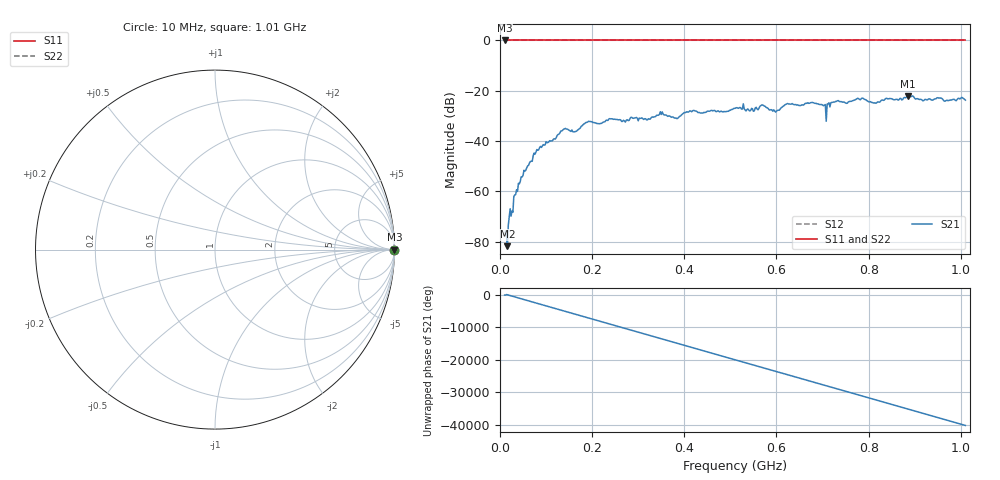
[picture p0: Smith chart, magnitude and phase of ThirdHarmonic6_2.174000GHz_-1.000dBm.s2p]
! 8/17/2025 1:56:22 AM
! C:\ANRITSUVNA\TEMP\TEMP.S2P
! CHANNEL.1
! TR.MEASUREMENT
! RAW.DATA
! RF.CORRECTION.OFF
! AVERAGING.OFF
! IF.BANDWIDTH: 5KHZ
! SWEEPTYPE:  FREQ.SWEEP(Linear)
! Reference Plane Port Info
! PORT:  PORT1  PORT2
! DISTANCE:  0  m  0  m
! TIME:  0  s  0  s
! PHASE.OFFSET:  0  deg.  0  deg.
! LOSS:  0  dB  0  dB
! REF.LOSS:  0  dB  0  dB
! REF.FREQ:  0  Hz  0  Hz
! Power Info
! POWER:  -20  dBm  -20  dBm
! EFF.POWER:  -20  dBm  -20  dBm
! SOURCE.ATTEN:  0  dB  0  dB
! TEST.ATTEN:  0  dB  0  dB
# GHZ S RI R 50.0
! FREQ.GHZ  S11RE  S11IM  S21RE  S21IM  S12RE  S12IM  S22RE  S22IM
!; PortSelection: Port_12
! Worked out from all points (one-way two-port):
!   501 points, 10 MHz to 1.01 GHz, reference 50 ohm
!   highest |S21| = -22.03 dB at 886 MHz (marker M1); lowest = -81.8 dB at 16 MHz (marker M2)
!   lowest |S11| = 0.0 dB at 10 MHz (marker M3)
!   |S11| at or under -10 dB: nowhere
!   |S22| runs from 0.0 to 0.0 dB; largest |S21 - S12| = 1.1
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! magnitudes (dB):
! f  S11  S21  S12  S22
! 10 MHz  0.0  -77.8  0.0  0.0
! 16 MHz  0.0  -81.8  0.0  0.0
! 34 MHz  0.0  -61.3  0.0  0.0
! 44 MHz  0.0  -56.0  0.0  0.0
! 76 MHz  0.0  -45.2  0.0  0.0
! 136 MHz  0.0  -35.7  0.0  0.0
! 162 MHz  0.0  -36.3  0.0  0.0
! 178 MHz  0.0  -33.9  0.0  0.0
! 344 MHz  0.0  -29.7  0.0  0.0
! 382 MHz  0.0  -30.8  0.0  0.0
! 416 MHz  0.0  -28.3  0.0  0.0
! 510 MHz  0.0  -27.0  0.0  0.0
! 570 MHz  0.0  -25.7  0.0  0.0
! 600 MHz  0.0  -28.1  0.0  0.0
! 622 MHz  0.0  -25.2  0.0  0.0
! 678 MHz  0.0  -24.6  0.0  0.0
! 704 MHz  0.0  -25.7  0.0  0.0
! 732 MHz  0.0  -24.0  0.0  0.0
! 814 MHz  0.0  -24.8  0.0  0.0
! 844 MHz  0.0  -23.2  0.0  0.0
! 886 MHz  0.0  -22.0  0.0  0.0
! 1.01 GHz  0.0  -23.7  0.0  0.0
